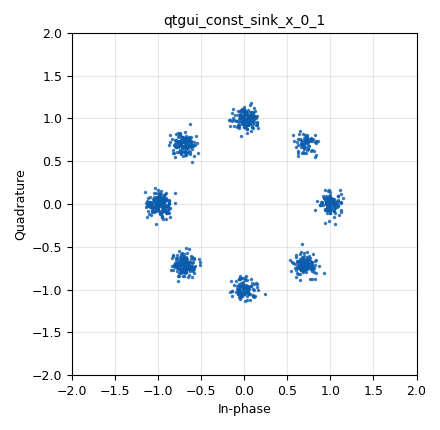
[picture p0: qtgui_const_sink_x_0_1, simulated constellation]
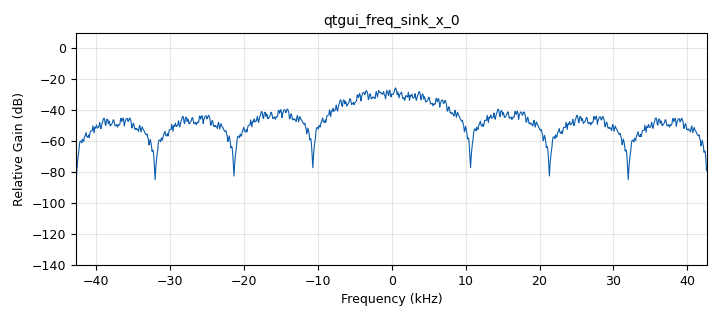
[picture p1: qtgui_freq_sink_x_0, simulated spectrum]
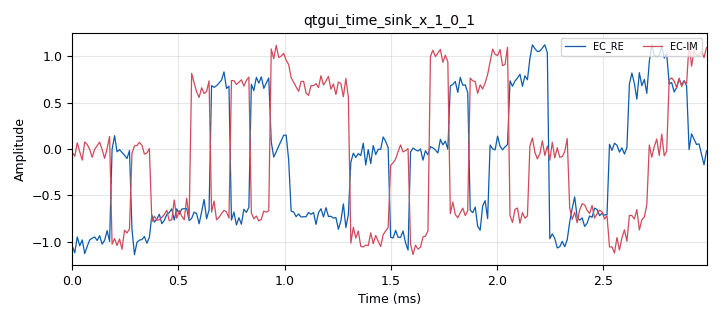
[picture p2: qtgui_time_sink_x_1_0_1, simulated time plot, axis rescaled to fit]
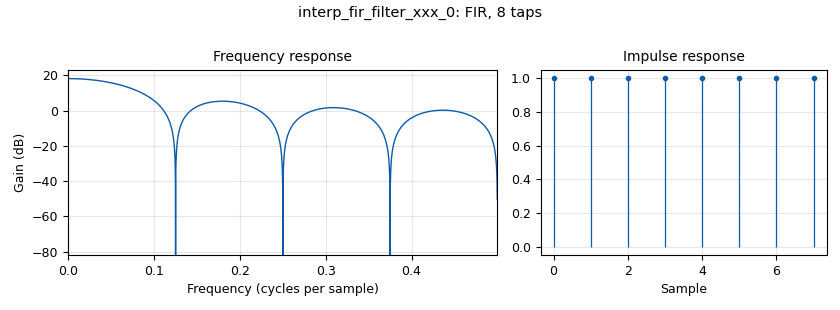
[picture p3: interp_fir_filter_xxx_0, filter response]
options:
  parameters:
    author: nikod
    generate_options: qt_gui
    id: M_PSK
    output_language: python
    title: Not titled yet
  states: {}

blocks:
- name: M
  id: variable
  parameters:
    value: '8'
  states: {}
- name: Nbps
  id: variable
  parameters:
    value: int(math.log(M,2))
  states: {}
- name: Rb
  id: variable
  parameters:
    value: '32000'
  states: {}
- name: Rs
  id: variable
  parameters:
    value: Rb/Nbps
  states: {}
- name: Samp_Rate
  id: variable
  parameters:
    value: Rs*Sps
  states: {}
- name: Sps
  id: variable
  parameters:
    value: len(h)
  states: {}
- name: h
  id: variable
  parameters:
    value: (1.,1.,1.,1.,1.,1.,1.,1.)
  states: {}
- name: analog_const_source_x_0
  id: analog_const_source_x
  parameters:
    const: '1'
    type: float
  states: {}
- name: analog_noise_source_x_0
  id: analog_noise_source_x
  parameters:
    amp: '0.1'
    noise_type: analog.GR_GAUSSIAN
    seed: '0'
    type: complex
  states: {}
- name: analog_random_source_x_0
  id: analog_random_source_x
  parameters:
    max: '2'
    min: '0'
    num_samps: '1000'
    repeat: 'True'
    type: byte
  states: {}
- name: blocks_add_xx_0
  id: blocks_add_xx
  parameters:
    type: complex
  states: {}
- name: blocks_char_to_float_0
  id: blocks_char_to_float
  parameters:
    scale: '1'
  states: {state: disabled}
- name: blocks_char_to_float_0_0
  id: blocks_char_to_float
  parameters:
    scale: '1'
  states: {state: disabled}
- name: blocks_char_to_float_0_0_0
  id: blocks_char_to_float
  parameters:
    scale: '1'
  states: {}
- name: blocks_multiply_const_vxx_0
  id: blocks_multiply_const_vxx
  parameters:
    const: 2*math.pi/M
    type: float
  states: {}
- name: blocks_repack_bits_bb_0
  id: blocks_repack_bits_bb
  parameters:
    endianness: gr.GR_LSB_FIRST
    k: '1'
    l: Nbps
  states: {}
- name: epy_block_1
  id: epy_block
  parameters:
    _source_code: |
      """
      Embedded Python Blocks:

      Each time this file is saved, GRC will instantiate the first class it finds
      to get ports and parameters of your block. The arguments to __init__  will
      be the parameters. All of them are required to have default values!
      """

      import numpy as np
      from gnuradio import gr


      class blk(gr.sync_block):  # other base classes are basic_block, decim_block, interp_block
          """Embedded Python Block example - a simple multiply const"""

          def __init__(self, example_param=1.0):  # only default arguments here
              """arguments to this function show up as parameters in GRC"""
              gr.sync_block.__init__(
                  self,
                  name='VCO_complex',   # will show up in GRC
                  in_sig=[np.float32,np.float32],
                  out_sig=[np.complex64]
              )
              # if an attribute with the same name as a parameter is found,
              # a callback is registered (properties work, too).
              self.example_param = example_param

          def work(self, input_items, output_items):
              """example: multiply with constant"""
              Q=input_items[0]
              A=input_items[1]
              Sec=output_items[0]
              Sec[:]=A*np.exp(1.j*Q)
              return len(Sec)
    example_param: '1.0'
  states: {}
- name: import_0
  id: import
  parameters:
    imports: import math
  states: {}
- name: interp_fir_filter_xxx_0
  id: interp_fir_filter_xxx
  parameters:
    interp: Sps
    taps: h
    type: ccc
  states: {}
- name: qtgui_const_sink_x_0
  id: qtgui_const_sink_x
  parameters:
    size: '1024'
    type: complex
    width1: '3'
  states: {state: disabled}
- name: qtgui_const_sink_x_0_1
  id: qtgui_const_sink_x
  parameters:
    size: '1024'
    type: complex
    width1: '3'
  states: {}
- name: qtgui_const_sink_x_0_1_0
  id: qtgui_const_sink_x
  parameters:
    size: '1024'
    type: complex
    width1: '3'
  states: {state: disabled}
- name: qtgui_const_sink_x_0_1_1
  id: qtgui_const_sink_x
  parameters:
    size: '1024'
    type: complex
    width1: '3'
  states: {state: disabled}
- name: qtgui_freq_sink_x_0
  id: qtgui_freq_sink_x
  parameters:
    average: '0.05'
    bw: Samp_Rate
    fc: '0'
    fftsize: '1024'
    type: complex
  states: {}
- name: qtgui_time_sink_x_0
  id: qtgui_time_sink_x
  parameters:
    autoscale: 'True'
    label1: Binaria
    marker1: '0'
    size: '32'
    srate: Rb
    stemplot: 'True'
    type: float
    width1: '3'
  states: {state: disabled}
- name: qtgui_time_sink_x_0_0
  id: qtgui_time_sink_x
  parameters:
    autoscale: 'True'
    label1: M-PAM
    marker1: '0'
    size: '32'
    srate: Rb/3
    stemplot: 'True'
    type: float
    width1: '3'
  states: {state: disabled}
- name: qtgui_time_sink_x_0_0_0
  id: qtgui_time_sink_x
  parameters:
    autoscale: 'True'
    label1: M-PAM MOD
    marker1: '0'
    size: '32'
    srate: Rb/3
    stemplot: 'True'
    type: float
    width1: '3'
  states: {state: disabled}
- name: qtgui_time_sink_x_1
  id: qtgui_time_sink_x
  parameters:
    color1: dark blue
    label1: EC_RE
    label2: EC-IM
    marker1: '0'
    marker2: '0'
    size: int(32/Nbps)
    srate: Rs
    stemplot: 'True'
    type: complex
    width1: '3'
    width2: '3'
  states: {state: disabled}
- name: qtgui_time_sink_x_1_0
  id: qtgui_time_sink_x
  parameters:
    color1: dark blue
    label1: EC_RE
    label2: EC-IM
    size: 32*Sps
    srate: Samp_Rate
    type: complex
  states: {state: disabled}
- name: qtgui_time_sink_x_1_0_0
  id: qtgui_time_sink_x
  parameters:
    color1: dark blue
    label1: EC_RE
    label2: EC-IM
    size: 32*Sps
    srate: Samp_Rate
    type: complex
  states: {state: disabled}
- name: qtgui_time_sink_x_1_0_1
  id: qtgui_time_sink_x
  parameters:
    color1: dark blue
    label1: EC_RE
    label2: EC-IM
    size: 32*Sps
    srate: Samp_Rate
    type: complex
  states: {}

connections:
- [analog_const_source_x_0, '0', epy_block_1, '1']
- [analog_noise_source_x_0, '0', blocks_add_xx_0, '1']
- [analog_noise_source_x_0, '0', qtgui_const_sink_x_0_1_0, '0']
- [analog_noise_source_x_0, '0', qtgui_time_sink_x_1_0_0, '0']
- [analog_random_source_x_0, '0', blocks_char_to_float_0, '0']
- [analog_random_source_x_0, '0', blocks_repack_bits_bb_0, '0']
- [blocks_add_xx_0, '0', qtgui_const_sink_x_0_1, '0']
- [blocks_add_xx_0, '0', qtgui_time_sink_x_1_0_1, '0']
- [blocks_char_to_float_0, '0', qtgui_time_sink_x_0, '0']
- [blocks_char_to_float_0_0, '0', qtgui_time_sink_x_0_0, '0']
- [blocks_char_to_float_0_0_0, '0', blocks_multiply_const_vxx_0, '0']
- [blocks_multiply_const_vxx_0, '0', epy_block_1, '0']
- [blocks_multiply_const_vxx_0, '0', qtgui_time_sink_x_0_0_0, '0']
- [blocks_repack_bits_bb_0, '0', blocks_char_to_float_0_0, '0']
- [blocks_repack_bits_bb_0, '0', blocks_char_to_float_0_0_0, '0']
- [epy_block_1, '0', interp_fir_filter_xxx_0, '0']
- [epy_block_1, '0', qtgui_const_sink_x_0, '0']
- [epy_block_1, '0', qtgui_time_sink_x_1, '0']
- [interp_fir_filter_xxx_0, '0', blocks_add_xx_0, '0']
- [interp_fir_filter_xxx_0, '0', qtgui_const_sink_x_0_1_1, '0']
- [interp_fir_filter_xxx_0, '0', qtgui_freq_sink_x_0, '0']
- [interp_fir_filter_xxx_0, '0', qtgui_time_sink_x_1_0, '0']

metadata:
  file_format: 1
  grc_version: 3.10.10.0
